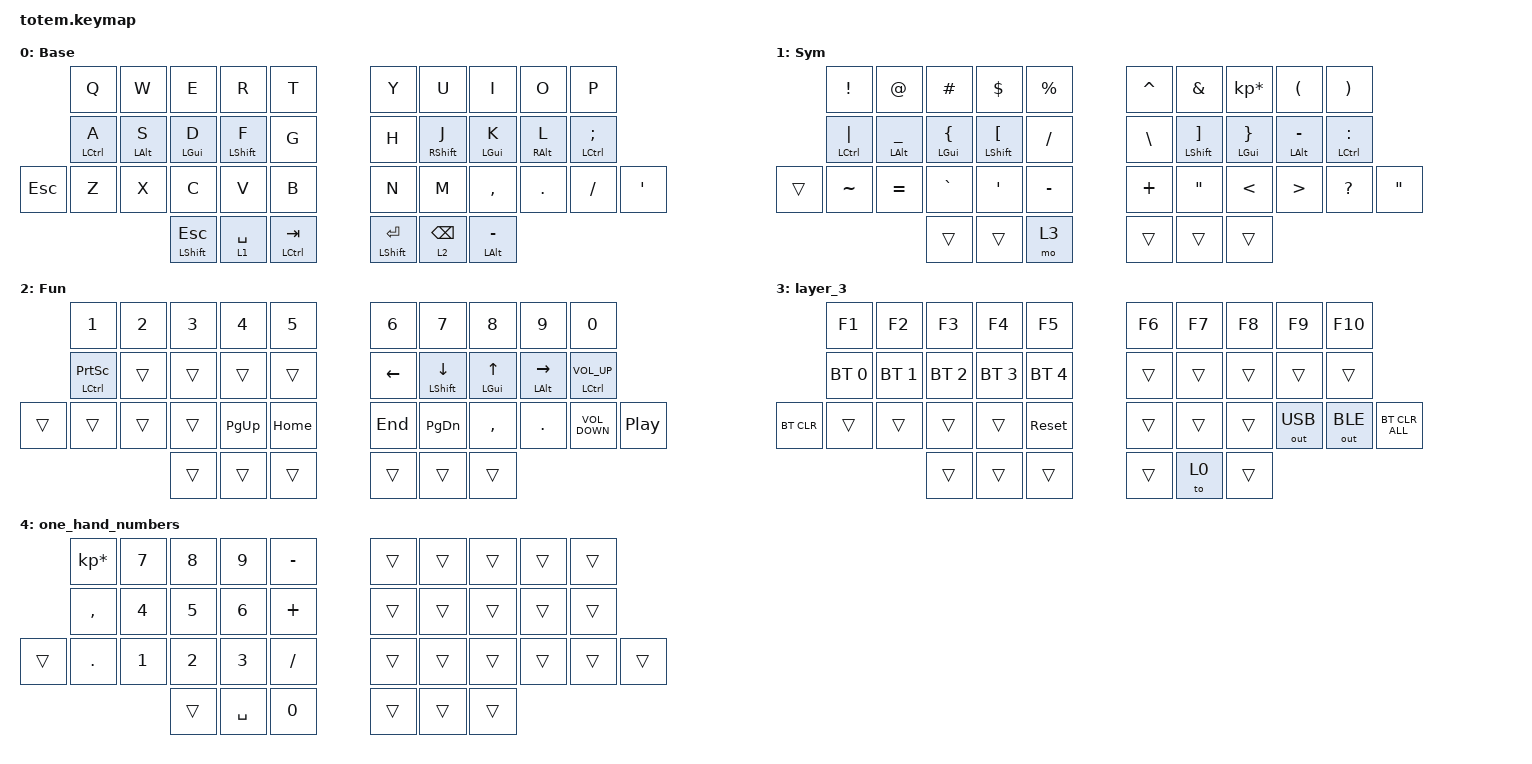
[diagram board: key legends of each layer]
//
//                                                        ▀▀▀▀▀     ▀▀▀▀▀          ▀▀█▀▀
//                                                        ▄▀▀▀▄  ▄  ▄▀▀▀▄  ▄  ▄▀▀▀▄  █  ▄▀▀▀▄
//                                                        █   █  █  █   █  █  █   █  █  █   █
//                                                         ▀▀▀   █   ▀▀▀   █   ▀▀▀   ▀   ▀▀▀
//                                                               █      ▄▄▄█▄▄▄    █   █  
//                                                               ▀      █  █  █     █▄█
//                                                             ▀▀▀▀▀    █  █  █      ▀
//                                                                      ▀  ▀  ▀
//
// ▄▄▄▄▄▄▄▄▄▄▄▄▄▄▄▄▄▄▄▄▄▄▄▄▄▄▄▄▄▄▄▄▄▄▄▄▄▄▄▄▄▄▄▄▄▄▄▄▄▄▄▄▄▄▄▄▄▄▄▄▄▄▄▄▄▄▄▄▄▄▄▄▄▄▄▄▄▄▄▄▄▄▄▄▄▄▄▄▄▄▄▄▄▄▄▄▄▄▄▄▄▄▄▄▄▄▄▄▄▄▄▄▄▄▄▄▄▄▄▄▄▄▄▄▄▄▄▄▄▄▄▄▄▄▄▄▄▄▄▄▄▄▄▄▄▄▄▄▄

#include <behaviors.dtsi>
#include <dt-bindings/zmk/bt.h>
#include <dt-bindings/zmk/keys.h>
#include <dt-bindings/zmk/outputs.h>

#define Base        0
#define Nav         1
#define Sym         2
#define Fun         3
#define Game        4
#define Gameplus    5

&caps_word { continue-list = <UNDERSCORE BACKSPACE DELETE SPACE MINUS>; };

/ {
    behaviors {
        hmr: hmr {
            compatible = "zmk,behavior-hold-tap";
            label = "home-row-mode-for-right";
            #binding-cells = <2>;
            flavor = "balanced";
            tapping-term-ms = <230>;
            quick-tap-ms = <150>;
            bindings = <&kp>, <&kp>;

            require-prior-idle-ms = <130>;
            hold-trigger-key-positions = <0 1 3 4 10 11 12 13 14 20 21 22 23 24 25 32 33 34 2 35 36 37>;
            hold-trigger-on-release;
        };

        hml: hml {
            compatible = "zmk,behavior-hold-tap";
            label = "home-mode-row-for-left";
            bindings = <&kp>, <&kp>;

            #binding-cells = <2>;
            tapping-term-ms = <230>;
            quick-tap-ms = <155>;
            require-prior-idle-ms = <130>;
            flavor = "balanced";
            hold-trigger-key-positions = <5 6 7 8 9 15 16 17 18 19 26 27 28 29 30 31 35 36 37 32 33 34>;
            hold-trigger-on-release;
        };

        rthumb: rthumb {
            compatible = "zmk,behavior-hold-tap";
            label = "RIGHT_THUMB";
            bindings = <&mo>, <&kp>;

            #binding-cells = <2>;
            tapping-term-ms = <230>;
            quick-tap-ms = <130>;
            hold-trigger-key-positions = <1 2 3 4 5 6 7 8 17 15 16 36 26 18 9 0 10 25>;
        };

        lthumb: lthumb {
            compatible = "zmk,behavior-hold-tap";
            label = "LEFT_THUMB";
            bindings = <&mo>, <&kp>;

            #binding-cells = <2>;
            tapping-term-ms = <230>;
            quick-tap-ms = <150>;
        };

        holdPriority: holdPriority {
            compatible = "zmk,behavior-hold-tap";
            label = "HOLD_PRIORITY";
            bindings = <&kp>, <&kp>;

            #binding-cells = <2>;
            tapping-term-ms = <230>;
            quick-tap-ms = <150>;
        };
    };

    combos {
        compatible = "zmk,combos";

        delete {
            bindings = <&kp DELETE>;
            key-positions = <12 13>;
        };

        copy {
            bindings = <&kp LG(C)>;
            key-positions = <22 23>;
        };

        paste {
            bindings = <&kp LG(V)>;
            key-positions = <23 24>;
        };

        cut {
            bindings = <&kp LG(X)>;
            key-positions = <22 24>;
        };

        escape {
            bindings = <&kp ESC>;
            key-positions = <16 17>;
        };

        enter {
            bindings = <&kp ENTER>;
            key-positions = <0 1 2 3>;
            layers = <0 4>;
        };

        caps_word {
            bindings = <&caps_word>;
            key-positions = <13 12 16 17>;
            layers = <0>;
        };

        equal {
            bindings = <&kp EQUAL>;
            key-positions = <21 22>;
            layers = <0>;
        };

        escape_left {
            bindings = <&kp ESCAPE>;
            key-positions = <0 1 2 1>;
        };
    };

    keymap {
        compatible = "zmk,keymap";

        Base {
            display-name = "Base";
            bindings = <
         &kp Q         &kp W        &kp E                         &kp R            &kp T                             &kp Y                           &kp U           &kp I                         &kp O        &kp P
         &hml LCTRL A  &hml LALT S  &hml LEFT_GUI D               &hml LSHIFT F    &kp G                             &kp H                           &hmr RSHFT J    &hmr LEFT_GUI K               &hmr RALT L  &hmr LEFT_CONTROL SEMICOLON
&kp ESC  &kp Z         &kp X        &kp C                         &kp V            &kp B                             &kp N                           &kp M           &kp COMMA                     &kp DOT      &kp SLASH                    &kp APOSTROPHE
                                    &holdPriority LEFT_SHIFT ESC  &lthumb 1 SPACE  &holdPriority LEFT_CONTROL TAB    &holdPriority LEFT_SHIFT ENTER  &rthumb 2 BSPC  &holdPriority LEFT_ALT MINUS
            >;
        };

        symbol_layer {
            display-name = "Sym";
            bindings = <
        &kp EXCL                &kp AT                    &kp HASH                  &kp DOLLAR                    &kp PERCENT    &kp CARET      &kp AMPERSAND                  &kp KP_ASTERISK            &kp LPAR             &kp RIGHT_PARENTHESIS
        &hml LEFT_CONTROL PIPE  &hml LEFT_ALT UNDERSCORE  &hml LEFT_GUI LEFT_BRACE  &hml LEFT_SHIFT LEFT_BRACKET  &kp SLASH      &kp BACKSLASH  &hmr LEFT_SHIFT RIGHT_BRACKET  &hmr LEFT_GUI RIGHT_BRACE  &hmr LEFT_ALT MINUS  &hmr LEFT_CONTROL COLON
&trans  &kp TILDE               &kp EQUAL                 &kp GRAVE                 &kp SINGLE_QUOTE              &kp MINUS      &kp PLUS       &kp DOUBLE_QUOTES              &kp LESS_THAN              &kp GREATER_THAN     &kp QUESTION             &kp DOUBLE_QUOTES
                                                          &trans                    &trans                        &mo 3          &trans         &trans                         &trans
            >;
        };

        num_nav {
            display-name = "Fun";
            bindings = <
        &kp NUMBER_1                   &kp NUMBER_2  &kp NUMBER_3  &kp N4       &kp N5      &kp NUMBER_6    &kp N7                      &kp N8                  &kp NUMBER_9         &kp NUMBER_0
        &hml LEFT_CONTROL PRINTSCREEN  &trans        &trans        &trans       &trans      &kp LEFT_ARROW  &hmr LEFT_SHIFT DOWN_ARROW  &hmr LEFT_GUI UP_ARROW  &hmr LEFT_ALT RIGHT  &hmr LEFT_CONTROL C_VOLUME_UP
&trans  &trans                         &trans        &trans        &kp PAGE_UP  &kp HOME    &kp END         &kp PAGE_DOWN               &kp COMMA               &kp PERIOD           &kp C_VOLUME_DOWN              &kp C_PLAY_PAUSE
                                                     &trans        &trans       &trans      &trans          &trans                      &trans
            >;
        };

        layer_3 {
            bindings = <
            &kp F1        &kp F2        &kp F3        &kp F4        &kp F5          &kp F6  &kp F7  &kp F8  &kp F9        &kp F10
            &bt BT_SEL 0  &bt BT_SEL 1  &bt BT_SEL 2  &bt BT_SEL 3  &bt BT_SEL 4    &trans  &trans  &trans  &trans        &trans
&bt BT_CLR  &trans        &trans        &trans        &trans        &sys_reset      &trans  &trans  &trans  &out OUT_USB  &out OUT_BLE  &bt BT_CLR_ALL
                                        &trans        &trans        &trans          &trans  &to 0   &trans
            >;
        };

        one_hand_numbers {
            bindings = <
        &kp KP_MULTIPLY  &kp NUMBER_7  &kp NUMBER_8  &kp NUMBER_9  &kp MINUS       &trans  &trans  &trans  &trans  &trans
        &kp COMMA        &kp NUMBER_4  &kp NUMBER_5  &kp NUMBER_6  &kp PLUS        &trans  &trans  &trans  &trans  &trans
&trans  &kp PERIOD       &kp NUMBER_1  &kp NUMBER_2  &kp NUMBER_3  &kp SLASH       &trans  &trans  &trans  &trans  &trans  &trans
                                       &trans        &kp SPACE     &kp NUMBER_0    &trans  &trans  &trans
            >;
        };
    };
};
